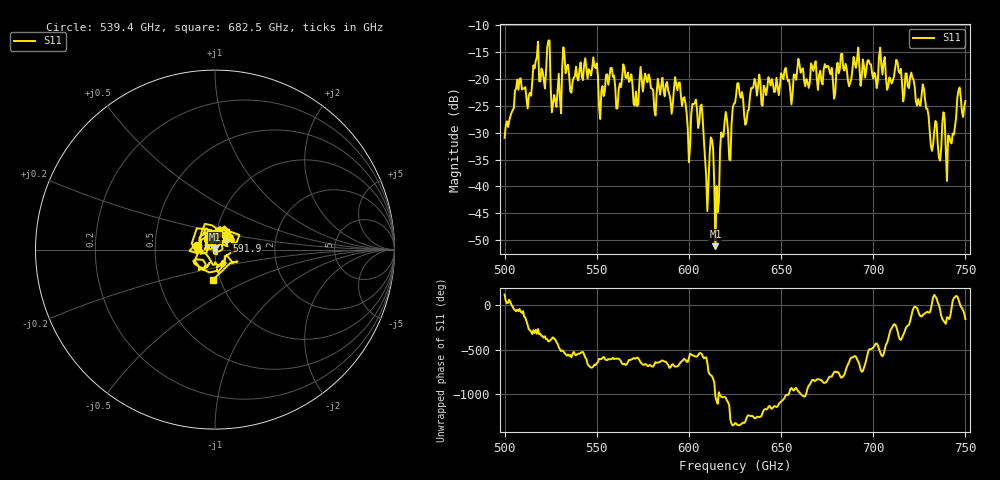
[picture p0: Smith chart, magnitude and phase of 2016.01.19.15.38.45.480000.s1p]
!Created with skrf (http://scikit-rf.org).
# GHz S RI R 50.0
!freq ReS11 ImS11
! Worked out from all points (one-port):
!   401 points, 500 GHz to 750 GHz, reference 50 ohm
!   lowest |S11| = -51.1 dB at 614.4 GHz (marker M1), VSWR 1.01, Z = 50.2 + j0.215 ohm
!   |S11| at or under -10 dB: start of sweep to end of sweep
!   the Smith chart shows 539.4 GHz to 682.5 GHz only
!   S11 on the Smith chart (normalised r, x): 539.4 GHz: 0.82, +0.03; 591.9 GHz: 1.13, +0.11; 682.5 GHz: 0.92, -0.32
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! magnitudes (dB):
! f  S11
! 500 GHz  -31.0
! 507.5 GHz  -22.0
! 513.1 GHz  -23.1
! 516.9 GHz  -16.7
! 523.8 GHz  -12.9
! 526.9 GHz  -23.0
! 531.2 GHz  -17.8
! 539.4 GHz  -19.7
! 562.5 GHz  -20.8
! 591.9 GHz  -21.9
! 593.8 GHz  -22.1
! 600 GHz  -35.5
! 602.5 GHz  -24.7
! 606.9 GHz  -24.8
! 609.4 GHz  -38.1
! 612.5 GHz  -31.3
! 614.4 GHz  -51.1
! 615.6 GHz  -44.8
! 618.8 GHz  -30.6
! 622.5 GHz  -35.1
! 625 GHz  -24.5
! 656.2 GHz  -22.7
! 682.5 GHz  -15.4
! 687.5 GHz  -20.7
! 690.6 GHz  -17.9
! 718.8 GHz  -21.4
! 735.6 GHz  -34.6
! 750 GHz  -24.1
